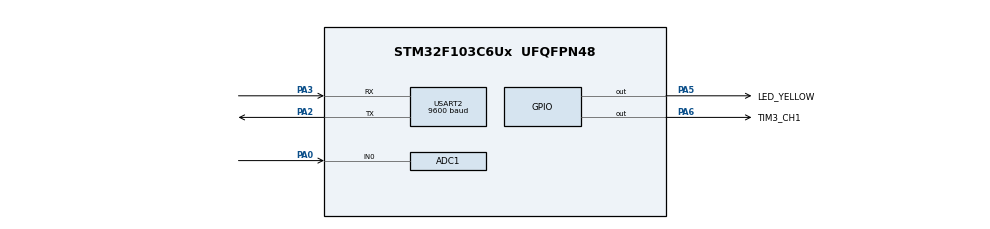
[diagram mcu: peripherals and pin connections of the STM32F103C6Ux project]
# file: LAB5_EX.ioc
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ADC1.Channel-0\#ChannelRegularConversion=ADC_CHANNEL_0
ADC1.ContinuousConvMode=ENABLE
ADC1.NbrOfConversionFlag=1
ADC1.Rank-0\#ChannelRegularConversion=1
ADC1.SamplingTime-0\#ChannelRegularConversion=ADC_SAMPLETIME_1CYCLE_5
ADC1.master=1
Mcu.Family=STM32F1
Mcu.Name=STM32F103C6Ux
Mcu.Package=UFQFPN48
NVIC.PriorityGroup=NVIC_PRIORITYGROUP_4
NVIC.TIM2_IRQn=true\:0\:0\:false\:false\:true\:true\:true
NVIC.USART2_IRQn=true\:0\:0\:false\:false\:true\:true\:true
PA0-WKUP.Signal=ADCx_IN0
PA2.Mode=Asynchronous
PA2.Signal=USART2_TX
PA3.Mode=Asynchronous
PA3.Signal=USART2_RX
PA5.GPIO_Label=LED_YELLOW
PA5.Signal=GPIO_Output
PA6.GPIO_Label=TIM3_CH1
PA6.Signal=GPIO_Output
ProjectManager.HeapSize=0x200
ProjectManager.StackSize=0x400
ProjectManager.TargetToolchain=STM32CubeIDE
RCC.APB1Freq_Value=8000000
RCC.APB2Freq_Value=8000000
SH.ADCx_IN0.0=ADC1_IN0,IN0
TIM2.Period=9
TIM2.Prescaler=7999
USART2.BaudRate=9600
USART2.VirtualMode=VM_ASYNC
VP_SYS_VS_ND.Mode=No_Debug
VP_TIM2_VS_ClockSourceINT.Mode=Internal
board=custom

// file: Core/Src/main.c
/* USER CODE BEGIN Header */
/**
  ******************************************************************************
  * @file           : main.c
  * @brief          : Main program body
  ******************************************************************************
  * @attention
  *
  * <h2><center>&copy; Copyright (c) 2022 STMicroelectronics.
  * All rights reserved.</center></h2>
  *
  * This software component is licensed by ST under BSD 3-Clause license,
  * the "License"; You may not use this file except in compliance with the
  * License. You may obtain a copy of the License at:
  *                        opensource.org/licenses/BSD-3-Clause
  *
  ******************************************************************************
  */
/* USER CODE END Header */
#include <cmd_parser.h>
#include "main.h"

/* USER CODE BEGIN Includes */
#include "global.h"
#include "string.h"
#include "stdio.h"
#include "software_timer.h"
#include "uart_communication.h"
/* USER CODE END Includes */

ADC_HandleTypeDef hadc1;

TIM_HandleTypeDef htim2;

UART_HandleTypeDef huart2;

void SystemClock_Config(void);
static void MX_GPIO_Init(void);
static void MX_ADC1_Init(void);
static void MX_USART2_UART_Init(void);
static void MX_TIM2_Init(void);

/* USER CODE BEGIN 0 */
//void HAL_UART_RxCpltCallback(UART_HandleTypeDef * huart) {
//	if(huart->Instance == USART2){
//		buffer[index_buffer++] = temp;
//		if(index_buffer == MAX_BUFFER_SIZE) index_buffer = 0;
//		buffer_flag = 1;
//		HAL_UART_Transmit(&huart2, &temp, 1, 50);
//		HAL_UART_Receive_IT(&huart2, &temp, 1);
//	}
//}

void HAL_UART_RxCpltCallback(UART_HandleTypeDef * huart) {
	if(huart->Instance == USART2){

		// XỬ LÝ KÝ TỰ NGAY LẬP TỨC
		command_parser_fsm();

		// NHẬN TIẾP KÝ TỰ KẾ TIẾP
		HAL_UART_Receive_IT(&huart2, &temp, 1);
	}
}

/* USER CODE END 0 */

int main(void)
{

  /* MCU Configuration--------------------------------------------------------*/

  /* Reset of all peripherals, Initializes the Flash interface and the Systick. */
  HAL_Init();

  /* Configure the system clock */
  SystemClock_Config();

  /* Initialize all configured peripherals */
  MX_GPIO_Init();
  MX_ADC1_Init();
  MX_USART2_UART_Init();
  MX_TIM2_Init();
  /* USER CODE BEGIN 2 */
  HAL_TIM_Base_Start_IT(&htim2);
  HAL_UART_Receive_IT(&huart2, &temp, 1);
  /* USER CODE END 2 */

  /* Infinite loop */
  /* USER CODE BEGIN WHILE */
  setTimer(0, 1000);
  clearTimer(1);
  while (1)
  {
    /* USER CODE END WHILE */

    /* USER CODE BEGIN 3 */
	  // Toggle Led
	  if (timer_flag[0] == 1) {
		  HAL_GPIO_TogglePin(LED_YELLOW_GPIO_Port, LED_YELLOW_Pin);
		  setTimer(0, 1000);
	  }
//	  // If received byte, call command_parser_fsm function
//	  if (buffer_flag == 1) {
//		  command_parser_fsm();
//		  buffer_flag = 0;
//	  }
	  // uart_communiation_fsm function
	  uart_communication_fsm(&hadc1, &huart2);

  }
  /* USER CODE END 3 */
}

void SystemClock_Config(void)
{
  RCC_OscInitTypeDef RCC_OscInitStruct = {0};
  RCC_ClkInitTypeDef RCC_ClkInitStruct = {0};
  RCC_PeriphCLKInitTypeDef PeriphClkInit = {0};

  /** Initializes the RCC Oscillators according to the specified parameters
  * in the RCC_OscInitTypeDef structure.
  */
  RCC_OscInitStruct.OscillatorType = RCC_OSCILLATORTYPE_HSI;
  RCC_OscInitStruct.HSIState = RCC_HSI_ON;
  RCC_OscInitStruct.HSICalibrationValue = RCC_HSICALIBRATION_DEFAULT;
  RCC_OscInitStruct.PLL.PLLState = RCC_PLL_NONE;
  if (HAL_RCC_OscConfig(&RCC_OscInitStruct) != HAL_OK)
  {
    Error_Handler();
  }
  /** Initializes the CPU, AHB and APB buses clocks
  */
  RCC_ClkInitStruct.ClockType = RCC_CLOCKTYPE_HCLK|RCC_CLOCKTYPE_SYSCLK
                              |RCC_CLOCKTYPE_PCLK1|RCC_CLOCKTYPE_PCLK2;
  RCC_ClkInitStruct.SYSCLKSource = RCC_SYSCLKSOURCE_HSI;
  RCC_ClkInitStruct.AHBCLKDivider = RCC_SYSCLK_DIV1;
  RCC_ClkInitStruct.APB1CLKDivider = RCC_HCLK_DIV1;
  RCC_ClkInitStruct.APB2CLKDivider = RCC_HCLK_DIV1;

  if (HAL_RCC_ClockConfig(&RCC_ClkInitStruct, FLASH_LATENCY_0) != HAL_OK)
  {
    Error_Handler();
  }
  PeriphClkInit.PeriphClockSelection = RCC_PERIPHCLK_ADC;
  PeriphClkInit.AdcClockSelection = RCC_ADCPCLK2_DIV2;
  if (HAL_RCCEx_PeriphCLKConfig(&PeriphClkInit) != HAL_OK)
  {
    Error_Handler();
  }
}

static void MX_ADC1_Init(void)
{

  ADC_ChannelConfTypeDef sConfig = {0};

  /** Common config
  */
  hadc1.Instance = ADC1;
  hadc1.Init.ScanConvMode = ADC_SCAN_DISABLE;
  hadc1.Init.ContinuousConvMode = ENABLE;
  hadc1.Init.DiscontinuousConvMode = DISABLE;
  hadc1.Init.ExternalTrigConv = ADC_SOFTWARE_START;
  hadc1.Init.DataAlign = ADC_DATAALIGN_RIGHT;
  hadc1.Init.NbrOfConversion = 1;
  if (HAL_ADC_Init(&hadc1) != HAL_OK)
  {
    Error_Handler();
  }
  /** Configure Regular Channel
  */
  sConfig.Channel = ADC_CHANNEL_0;
  sConfig.Rank = ADC_REGULAR_RANK_1;
  sConfig.SamplingTime = ADC_SAMPLETIME_1CYCLE_5;
  if (HAL_ADC_ConfigChannel(&hadc1, &sConfig) != HAL_OK)
  {
    Error_Handler();
  }

}

static void MX_TIM2_Init(void)
{

  TIM_ClockConfigTypeDef sClockSourceConfig = {0};
  TIM_MasterConfigTypeDef sMasterConfig = {0};

  htim2.Instance = TIM2;
  htim2.Init.Prescaler = 7999;
  htim2.Init.CounterMode = TIM_COUNTERMODE_UP;
  htim2.Init.Period = 9;
  htim2.Init.ClockDivision = TIM_CLOCKDIVISION_DIV1;
  htim2.Init.AutoReloadPreload = TIM_AUTORELOAD_PRELOAD_DISABLE;
  if (HAL_TIM_Base_Init(&htim2) != HAL_OK)
  {
    Error_Handler();
  }
  sClockSourceConfig.ClockSource = TIM_CLOCKSOURCE_INTERNAL;
  if (HAL_TIM_ConfigClockSource(&htim2, &sClockSourceConfig) != HAL_OK)
  {
    Error_Handler();
  }
  sMasterConfig.MasterOutputTrigger = TIM_TRGO_RESET;
  sMasterConfig.MasterSlaveMode = TIM_MASTERSLAVEMODE_DISABLE;
  if (HAL_TIMEx_MasterConfigSynchronization(&htim2, &sMasterConfig) != HAL_OK)
  {
    Error_Handler();
  }

}

static void MX_USART2_UART_Init(void)
{

  huart2.Instance = USART2;
  huart2.Init.BaudRate = 9600;
  huart2.Init.WordLength = UART_WORDLENGTH_8B;
  huart2.Init.StopBits = UART_STOPBITS_1;
  huart2.Init.Parity = UART_PARITY_NONE;
  huart2.Init.Mode = UART_MODE_TX_RX;
  huart2.Init.HwFlowCtl = UART_HWCONTROL_NONE;
  huart2.Init.OverSampling = UART_OVERSAMPLING_16;
  if (HAL_UART_Init(&huart2) != HAL_OK)
  {
    Error_Handler();
  }

}

static void MX_GPIO_Init(void)
{
  GPIO_InitTypeDef GPIO_InitStruct = {0};

  /* GPIO Ports Clock Enable */
  __HAL_RCC_GPIOA_CLK_ENABLE();

  /*Configure GPIO pin Output Level */
  HAL_GPIO_WritePin(GPIOA, LED_YELLOW_Pin|TIM3_CH1_Pin, GPIO_PIN_RESET);

  /*Configure GPIO pins : LED_YELLOW_Pin TIM3_CH1_Pin */
  GPIO_InitStruct.Pin = LED_YELLOW_Pin|TIM3_CH1_Pin;
  GPIO_InitStruct.Mode = GPIO_MODE_OUTPUT_PP;
  GPIO_InitStruct.Pull = GPIO_NOPULL;
  GPIO_InitStruct.Speed = GPIO_SPEED_FREQ_LOW;
  HAL_GPIO_Init(GPIOA, &GPIO_InitStruct);

}

/* USER CODE BEGIN 4 */
void HAL_TIM_PeriodElapsedCallback(TIM_HandleTypeDef *htim){
	timerRun();
}
/* USER CODE END 4 */

void Error_Handler(void)
{
  __disable_irq();
  while (1)
  {
  }
}

/************************ (C) COPYRIGHT STMicroelectronics *****END OF FILE****/
